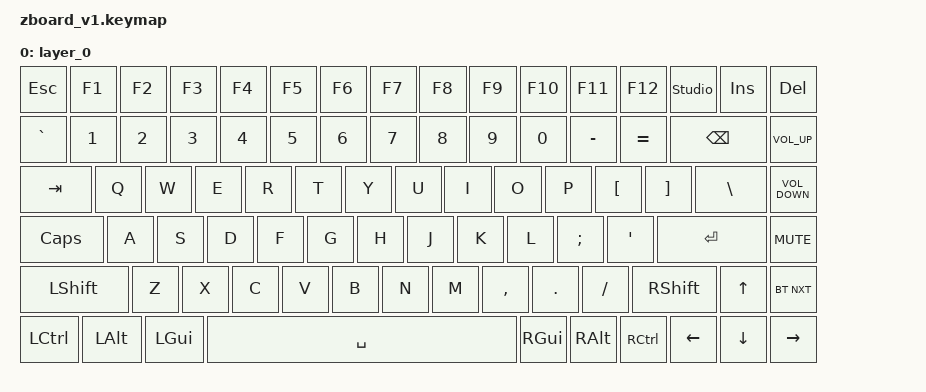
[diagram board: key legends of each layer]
#include <behaviors.dtsi>
#include <dt-bindings/zmk/keys.h>
#include <dt-bindings/zmk/bt.h>

/ {
    combos {
        compatible = "zmk,combos";

        BT1 {
            bindings = <&bt BT_SEL 0>;
            key-positions = <73 17>;
        };

        BT2 {
            bindings = <&bt BT_SEL 1>;
            key-positions = <73 18>;
        };

        BT3 {
            bindings = <&bt BT_SEL 2>;
            key-positions = <73 19>;
        };

        BT4 {
            bindings = <&bt BT_SEL 3>;
            key-positions = <73 20>;
        };

        BT5 {
            bindings = <&bt BT_SEL 4>;
            key-positions = <73 21>;
        };

        BTDEL {
            bindings = <&bt BT_CLR>;
            key-positions = <73 15>;
        };
    };

    keymap {
        compatible = "zmk,keymap";

        layer_0 {
            bindings = <
                &kp ESC  &kp F1  &kp F2  &kp F3  &kp F4  &kp F5  &kp F6  &kp F7  &kp F8  &kp F9  &kp F10  &kp F11  &kp F12  &studio_unlock  &kp INSERT  &kp DELETE  
                &kp GRAVE  &kp N1  &kp N2  &kp N3  &kp N4  &kp N5  &kp N6  &kp N7  &kp N8  &kp N9  &kp N0  &kp MINUS  &kp EQUAL  &kp BSPC  &kp C_VOLUME_UP  
                &kp TAB  &kp Q  &kp W  &kp E  &kp R  &kp T  &kp Y  &kp U  &kp I  &kp O  &kp P  &kp LBKT  &kp RBKT  &kp BSLH  &kp C_VOLUME_DOWN  
                &kp CAPS  &kp A  &kp S  &kp D  &kp F  &kp G  &kp H  &kp J  &kp K  &kp L  &kp SEMI  &kp SQT  &kp RET  &kp K_MUTE  
                &kp LSHFT  &kp Z  &kp X  &kp C  &kp V  &kp B  &kp N  &kp M  &kp COMMA  &kp DOT  &kp FSLH  &kp RSHFT  &kp UP  &bt BT_NXT  
                &kp LCTRL  &kp LALT  &kp LGUI  &kp SPACE  &kp RGUI  &kp RALT  &kp RIGHT_CONTROL  &kp LEFT  &kp DOWN  &kp RIGHT
            >;
        };
    };
};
